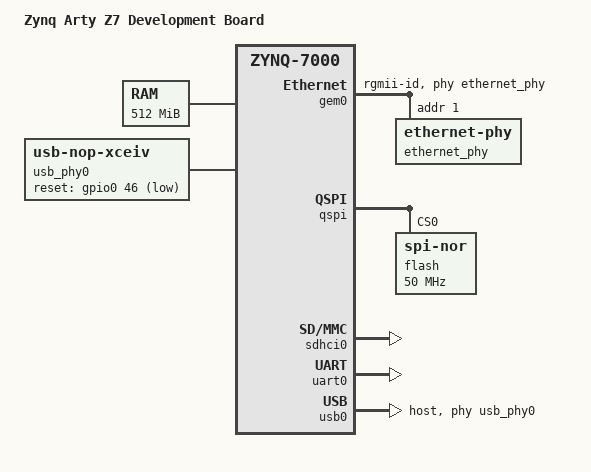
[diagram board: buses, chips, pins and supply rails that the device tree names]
// SPDX-FileCopyrightText: 2026 Mete Balci
// SPDX-License-Identifier: GPL-2.0-or-later
/*
 * The Arty Z7-20's processing system, as Linux and U-Boot see it.
 *
 * ONE FILE FOR BOTH.  The kernel compiles it from arch/arm/boot/dts/xilinx/
 * and U-Boot from arch/arm/dts/, each beside its own zynq-7000.dtsi and the
 * copy of boards/arty-z7-20/linux/cadr-reserved.dtsi the build puts there; U-Boot adds
 * zynq-arty-z7-20-u-boot.dtsi by name, which marks the three devices its
 * SPL needs.  GPL-2.0-or-later because the blob is embedded in u-boot.img.
 *
 * WHERE EACH FACT COMES FROM.  Mainline has no Arty Z7 tree (Linux 6.19.14
 * arch/arm/boot/dts/xilinx/, U-Boot 2026.01 arch/arm/dts/: seventeen and
 * thirty-odd zynq-* files, none this board); zynq-zybo-z7.dts is the closest
 * shape and is what this is written like.  The board's own facts are
 * Digilent's, from the 2017.4 PetaLinux BSP's generated tree
 * (components/plnx_workspace/device-tree/device-tree-generation/pcw.dtsi
 * and project-spec/meta-user/recipes-bsp/device-tree/files/system-user.dtsi)
 * and from boards/arty-z7-20/vivado/ps7_config.tcl, which is their processing-system
 * configuration verbatim:
 *
 *   the console is UART 0, not the UART 1 of every mainline Zynq board:
 *     PCW_EN_UART0 {1}, PCW_EN_UART1 {0}, MIO 14/15 "UART 0" in the MIO
 *     tree, `serial0 = &uart0` in Digilent's aliases --- ttyPS0 either way;
 *   the PS clock is 50 MHz, not the 33.33 MHz of the zybo and zed:
 *     PCW_CRYSTAL_PERIPHERAL_FREQMHZ {50}, `ps-clk-frequency = <50000000>`;
 *   512 MB of DDR3: PCW_DDR_RAM_HIGHADDR {0x1FFFFFFF}, `reg = <0x0 0x20000000>`;
 *   GEM 0 on RGMII with the PHY's own delays ("rgmii-id"), a Realtek
 *     RTL8211E at MDIO address 1 --- Digilent's `ethernet-phy@0 { reg = <1> }`
 *     with the comment "rtl8211e-vl" --- its reset on MIO 9 (PCW_ENET0_RESET_IO
 *     {MIO 9}, pulsed by the start-up routine's ps7_peripherals_init, so
 *     nothing here has to);
 *   SD 0 with card detect on MIO 47 (PCW_SD0_GRP_CD_IO {MIO 47}), which the
 *     controller reports itself;
 *   Quad SPI with one chip select (PCW_QSPI_GRP_SINGLE_SS_ENABLE {1}); the
 *     flash is named `jedec,spi-nor` and identified by its JEDEC id, because
 *     Digilent's two files disagree on the part (n25q512a in one, s25fl128s
 *     in the other) and the driver does not need to be told;
 *   USB 0 as a host over ULPI, its PHY reset on MIO 46 (Digilent's
 *     `usb-reset = <&gpio0 46 0>`), written as the zybo-z7 writes the same
 *     part.
 *
 * NO PROGRAMMABLE-LOGIC PERIPHERALS.  Digilent's tree carries an amba_pl
 * full of the peripherals of their base design; the fabric here is the
 * CADR, and there is nothing at those addresses.  I2C 0/1 and SPI 0 of the
 * 2017.4 design are off in the current one (PCW_EN_I2C0 {0}, PCW_EN_SPI0 {0})
 * and off here.  No FCLK is enabled: the fabric's clock comes from the pin.
 *
 * THE MODEL AND COMPATIBLE STRINGS ARE DIGILENT'S, so that what
 * /proc/device-tree/model printed on the stepping stone goes on being true.
 *
 * THE MAC ADDRESS IS NOT HERE.  It is private to the board and this file is
 * public; U-Boot puts the `ethaddr` the card supplies into gem0 at boot
 * (fdt_fixup_ethernet, on the ethernet0 alias), which is why the alias is
 * kept and why the kernel and the loader ask DHCP with one address.
 */

/dts-v1/;
#include "zynq-7000.dtsi"
#include <dt-bindings/gpio/gpio.h>

/ {
	model = "Zynq Arty Z7 Development Board";
	compatible = "digilent,zynq-artyz7", "xlnx,zynq-7000";

	aliases {
		ethernet0 = &gem0;
		serial0 = &uart0;
		spi0 = &qspi;
		mmc0 = &sdhci0;
	};

	memory@0 {
		device_type = "memory";
		reg = <0x0 0x20000000>;
	};

	chosen {
		bootargs = "";
		stdout-path = "serial0:115200n8";
	};

	usb_phy0: phy0 {
		#phy-cells = <0>;
		compatible = "usb-nop-xceiv";
		reset-gpios = <&gpio0 46 GPIO_ACTIVE_LOW>;
	};
};

/*
 * The CADR's 128 MB at 0x18000000, `no-map`.  rtl/plumbing/cadr_ddr_map.sv is where
 * the numbers are decided; the dtsi is the same fact in the tree's words.
 * In the kernel it keeps the region out of the linear map and out of
 * "System RAM"; in U-Boot it keeps the loader's own relocation
 * (common/memtop.c) and the fdt and ramdisk it places (lib/lmb.c) below it.
 */
#include "cadr-reserved.dtsi"

&clkc {
	ps-clk-frequency = <50000000>;
};

&gem0 {
	status = "okay";
	phy-mode = "rgmii-id";
	phy-handle = <&ethernet_phy>;

	ethernet_phy: ethernet-phy@1 {
		reg = <1>;
	};
};

&qspi {
	status = "okay";
	num-cs = <1>;

	flash@0 {
		compatible = "jedec,spi-nor";
		reg = <0>;
		spi-tx-bus-width = <1>;
		spi-rx-bus-width = <4>;
		spi-max-frequency = <50000000>;
		m25p,fast-read;
	};
};

&sdhci0 {
	status = "okay";
};

&uart0 {
	status = "okay";
};

/*
 * `phys`, NOT the `usb-phy` every mainline Zynq tree still carries, and the
 * reason was measured on this board (10 September, kernel 6.19.14): with
 * `usb-phy` the controller never came up --- ci_hdrc.0 unbound, nothing in
 * dmesg.  drivers/usb/phy/phy-generic.c registers at subsys_initcall and
 * drivers/gpio/gpio-zynq.c at device_initcall, so the PHY's first probe asks
 * for its reset line before gpio0 has a driver and defers; the ChipIdea core
 * (drivers/usb/chipidea/core.c, ci_hdrc_probe) then probes synchronously at
 * device_initcall and looks for a PHY three ways.  Only the `phys` phandle
 * answers -EPROBE_DEFER for a PHY that is not registered yet
 * (phy.c, __of_usb_find_phy); the "any USB2 PHY" fallback that `usb-phy`
 * leaves it with answers -ENODEV, and the probe ends in -ENXIO with no
 * message and no retry.  The binding says the same in its own words
 * (chipidea,usb2-common.yaml: usb-phy "deprecated: true. Use phys instead").
 * No `phy-names`: with CONFIG_GENERIC_PHY on, a name would make the generic
 * lookup wait for a provider this nop PHY is not.
 */
&usb0 {
	status = "okay";
	dr_mode = "host";
	phys = <&usb_phy0>;
};
